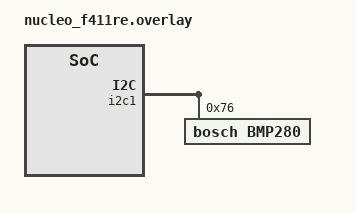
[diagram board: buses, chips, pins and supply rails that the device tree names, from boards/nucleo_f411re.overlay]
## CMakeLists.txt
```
cmake_minimum_required(VERSION 3.20.0)

find_package(Zephyr REQUIRED HINTS $ENV{ZEPHYR_BASE})
project(bmp280_example)

target_sources(app PRIVATE
	src/main.c
	lib/bmp280/bmp280.c
)

target_include_directories(app PRIVATE
	lib/bmp280
)
```

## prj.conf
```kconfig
# Subsistema I2C: obligatorio para hablar con el BMP280
CONFIG_I2C=y

# Necesario para que printk()/printf() puedan imprimir floats (%f)
CONFIG_CBPRINTF_FP_SUPPORT=y

# Sistema de logging: la libreria reporta errores via LOG_ERR/LOG_INF
CONFIG_LOG=y
CONFIG_LOG_DEFAULT_LEVEL=3

# Margen de pila algo mayor (logging + floats + printk)
CONFIG_MAIN_STACK_SIZE=2048
```

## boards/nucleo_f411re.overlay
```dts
/*
 * Overlay de ejemplo para el board nucleo_f411re.
 * Para otro board, cambia "&i2c1" por el nodelabel real de tu bus
 * I2C (revisa el .dts de tu board o la salida de `west build -t menuconfig`).
 */
&i2c1 {
	status = "okay";

	bmp280: bmp280@76 {
		compatible = "bosch,bmp280";
		reg = <0x76>;
		status = "okay";
	};
};
```

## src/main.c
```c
/*
 * Ejemplo de uso de la libreria bmp280 (I2C) en Zephyr RTOS.
 * Muestra: inicializacion, verificacion de errores y lectura
 * periodica de temperatura y presion.
 */

#include <zephyr/kernel.h>
#include <zephyr/sys/printk.h>
#include "bmp280.h"

/* El nodo "bmp280" viene de boards/<placa>.overlay.
 * La libreria no fija ninguna direccion; toda la informacion I2C
 * sale de este spec construido a partir del DeviceTree. */
static struct bmp280_device bmp = BMP280_DEVICE_DT_STATIC_INIT(DT_NODELABEL(bmp280));

int main(void)
{
	int ret = bmp280_init(&bmp);

	if (ret < 0) {
		printk("Error al inicializar el BMP280 (%d): %s\n",
		       ret, bmp280_error_str(ret));
		return ret;
	}

	printk("BMP280 inicializado correctamente\n");

	while (1) {
		float temperature = bmp280_read_temperature(&bmp);
		float pressure = bmp280_read_pressure(&bmp);
		int err = bmp280_get_last_error(&bmp);

		if (err != 0) {
			printk("Error de lectura (%d): %s\n", err, bmp280_error_str(err));
		} else {
			printk("Temperatura: %.2f C\n", (double)temperature);
			printk("Presion: %.2f hPa\n", (double)pressure);
		}

		k_sleep(K_SECONDS(1));
	}

	return 0;
}
```
